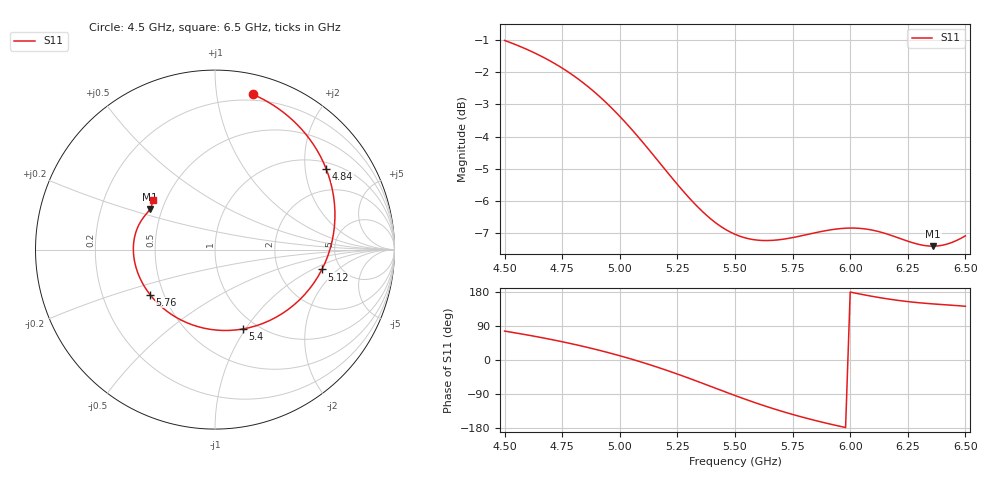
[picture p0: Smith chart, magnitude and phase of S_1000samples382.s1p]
! TOUCHSTONE file generated by CST MICROWAVE STUDIO
! Date and time: Thu Oct 27 23:37:09 2022
! Project name: L.cst
! Parameters = {Di=1.27; Epsilon_r=1.56; InnerDiameter=1.27; Length=2; Lf=10; Lg=60; OuterConductorThickness=0.2921; OuterDiameter=3.6; Wf=3; Wp=41.2; de=1.5; df=6.8; g=0.8; gx=3.73047; gy=2.14013; h=2.34; hf=1.524; px=13.5829; py=10.4646; w=9.7; wx=9.8524; wy=8.32446}
! Header version: 2018
! Port assignment regex: !\s*Touchstone port\s*([0-9]+)\s*=\s*(CST MWS port|CST DS port)\s*([0-9]+|Zmin|Zmax)\s*\(\"(.*)\"\)(\s*mode\s*([0-9]+))?.*
! Touchstone port assignment:
! Touchstone port 1 = CST MWS port 1 ("")
# GHz S DB R 50
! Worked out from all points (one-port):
!   101 points, 4.5 GHz to 6.5 GHz, reference 50 ohm
!   lowest |S11| = -7.4 dB at 6.36 GHz (marker M1), VSWR 2.49, Z = 21.5 + j11.9 ohm
!   |S11| at or under -10 dB: nowhere
!   S11 on the Smith chart (normalised r, x): 4.5 GHz: 0.15, +1.26; 4.84 GHz: 1.19, +2.59; 5.12 GHz: 3.60, -1.26; 5.4 GHz: 0.86, -0.97; 5.76 GHz: 0.42, -0.26; 6.5 GHz: 0.43, +0.29
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4.5  -1.01 76.2
4.58  -1.23 68.0
4.64  -1.43 61.4
4.7  -1.66 54.4
4.76  -1.91 46.9
4.84  -2.32 36.0
4.92  -2.80 24.2
5  -3.37 11.2
5.06  -3.84 0.7
5.12  -4.35 -10.5
5.18  -4.87 -22.4
5.26  -5.57 -39.3
5.34  -6.20 -57.1
5.4  -6.59 -70.9
5.44  -6.80 -80.1
5.5  -7.03 -93.7
5.56  -7.17 -106.8
5.64  -7.23 -123.3
5.7  -7.20 -134.8
5.76  -7.12 -145.4
5.82  -7.03 -155.2
5.88  -6.94 -164.3
5.94  -6.87 -172.8
6  -6.84 179.3
6.14  -6.98 163.4
6.26  -7.27 153.5
6.36  -7.40 148.0
6.5  -7.08 141.8
